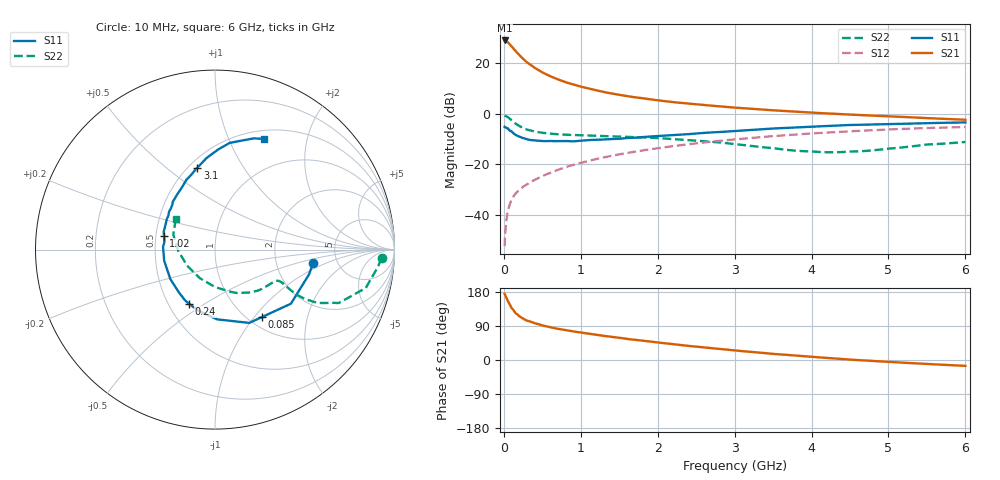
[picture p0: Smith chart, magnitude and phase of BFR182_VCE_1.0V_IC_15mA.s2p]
! Infineon Technologies  Discrete & RF Semiconductors
! BFR182
! VCE =  1.0 V,  IC =  15 mA
! Common Emitter S-Parameters:  Nov 2015
# GHz  S  MA  R  50
!  f  S11  S21  S12  S22
! GHz  MAG  ANG  MAG  ANG  MAG  ANG  MAG  ANG
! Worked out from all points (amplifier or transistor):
!   210 points, 10 MHz to 6 GHz, reference 50 ohm
!   highest |S21| = 29.0 dB at 10 MHz (marker M1)
!   |S21| within 3 dB of that: start of sweep to 120.2 MHz
!   unconditionally stable (mu >= 1): 418.2 MHz to 3.295 GHz
!   at 185 MHz: K = 0.71, MSG = 27.2 dB, |S12| = -30.5 dB
!   at 1.52 GHz: K = 1.12, MAG = 9.5 dB, |S12| = -15.9 dB
!   at 6 GHz: K = 0.97, MSG = 1.4 dB, |S12| = -5.2 dB
!   S11 on the Smith chart (normalised r, x): 10 MHz: 3.29, -0.71; 85 MHz: 1.15, -1.09; 240 MHz: 0.63, -0.43; 1.02 GHz: 0.55, +0.09; 3.1 GHz: 0.55, +0.65; 6 GHz: 0.60, +1.36
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0.01  0.5512 -7.8  28.29 174.9  0.0024 87.2  0.9289 -2.9
0.02  0.5417 -14.8  28 169.7  0.0048 85.7  0.9133 -6.0
0.05  0.5193 -35.5  26.32 156.0  0.0115 75.2  0.8668 -14.3
0.085  0.4578 -55.3  22.93 143.8  0.0174 69.4  0.7838 -20.3
0.1  0.4509 -64.9  21.86 137.5  0.02 68.0  0.7513 -23.3
0.15  0.3889 -88.2  17.63 124.1  0.0261 64.5  0.6432 -27.5
0.2  0.3541 -104.3  14.57 115.6  0.0313 63.4  0.5722 -28.8
0.24  0.335 -115.8  12.65 110.4  0.0351 63.9  0.5326 -28.9
0.26  0.3275 -121.0  11.83 108.0  0.0369 64.2  0.5156 -28.8
0.3  0.3123 -129.9  10.45 104.0  0.04 65.1  0.487 -28.4
0.4  0.2982 -146.4  8.145 97.1  0.0492 66.6  0.4444 -27.2
0.5  0.2883 -157.7  6.601 91.2  0.0582 67.6  0.4204 -26.3
0.6  0.2898 -167.7  5.566 86.5  0.0676 68.8  0.4052 -26.1
0.7  0.2878 -175.9  4.812 82.3  0.0775 69.2  0.3936 -26.2
0.8  0.2899 177.1  4.228 78.7  0.0874 68.9  0.3858 -26.6
1.02  0.2948 165.1  3.393 71.8  0.1091 68.7  0.3752 -28.3
1.4  0.3177 147.8  2.521 61.2  0.147 66.9  0.3583 -33.3
2.02  0.3641 127.7  1.835 45.9  0.2101 61.4  0.3296 -44.0
3.1  0.4669 102.1  1.294 23.4  0.321 49.4  0.2417 -72.5
4.1  0.5661 86.9  1.036 6.9  0.4167 36.7  0.1756 -124.4
5.1  0.6305 75.1  0.88 -6.2  0.4967 23.5  0.2103 177.3
6  0.6751 66.2  0.763 -15.5  0.5469 11.0  0.2773 141.9
